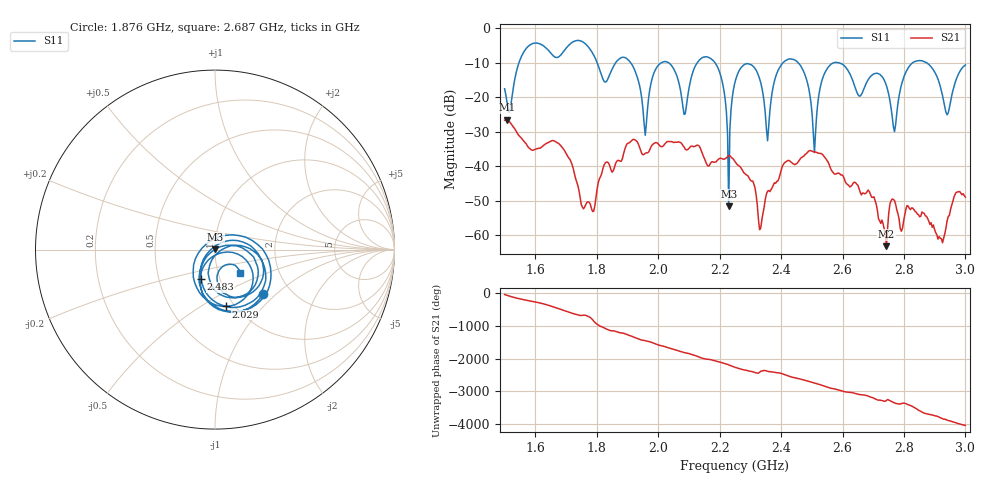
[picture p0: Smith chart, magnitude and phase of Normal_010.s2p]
# HZ S RI R 50
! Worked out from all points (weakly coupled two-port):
!   404 points, 1.5 GHz to 3 GHz, reference 50 ohm
!   highest |S21| = -26.59 dB at 1.507 GHz (marker M1); lowest = -63.2 dB at 2.743 GHz (marker M2)
!   lowest |S11| = -51.7 dB at 2.23 GHz (marker M3), VSWR 1.01, Z = 50.1 + j0.236 ohm
!   |S11| at or under -10 dB: 2.184 GHz to 2.407 GHz (222.9 MHz wide, 9.71 % of centre); 2.584 GHz to 2.829 GHz (245.5 MHz wide, 9.07 % of centre); 2.873 GHz to end of sweep (the widest 3 of 8)
!   S12 and S22 are empty: the file has one direction only
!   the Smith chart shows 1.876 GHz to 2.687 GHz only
!   S11 on the Smith chart (normalised r, x): 1.876 GHz: 1.46, -0.83; 2.029 GHz: 0.91, -0.64; 2.483 GHz: 0.81, -0.27; 2.687 GHz: 1.27, -0.34
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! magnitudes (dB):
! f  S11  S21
! 1.5 GHz  -17.6  -26.7
! 1.507 GHz  -21.2  -26.6
! 1.753 GHz  -4.0  -51.9
! 1.876 GHz  -8.8  -38.5
! 1.958 GHz  -31.1  -36.3
! 2.002 GHz  -10.6  -33.8
! 2.029 GHz  -9.8  -32.9
! 2.084 GHz  -25.1  -34.5
! 2.181 GHz  -9.6  -38.9
! 2.23 GHz  -51.7  -37.0
! 2.252 GHz  -15.1  -38.9
! 2.334 GHz  -15.9  -57.9
! 2.356 GHz  -32.7  -47.3
! 2.404 GHz  -10.3  -40.0
! 2.483 GHz  -14.8  -36.4
! 2.501 GHz  -25.1  -35.7
! 2.565 GHz  -10.4  -41.3
! 2.687 GHz  -14.5  -47.4
! 2.743 GHz  -16.8  -63.2
! 2.751 GHz  -19.3  -53.5
! 2.94 GHz  -25.1  -55.9
! 3 GHz  -10.7  -49.0
